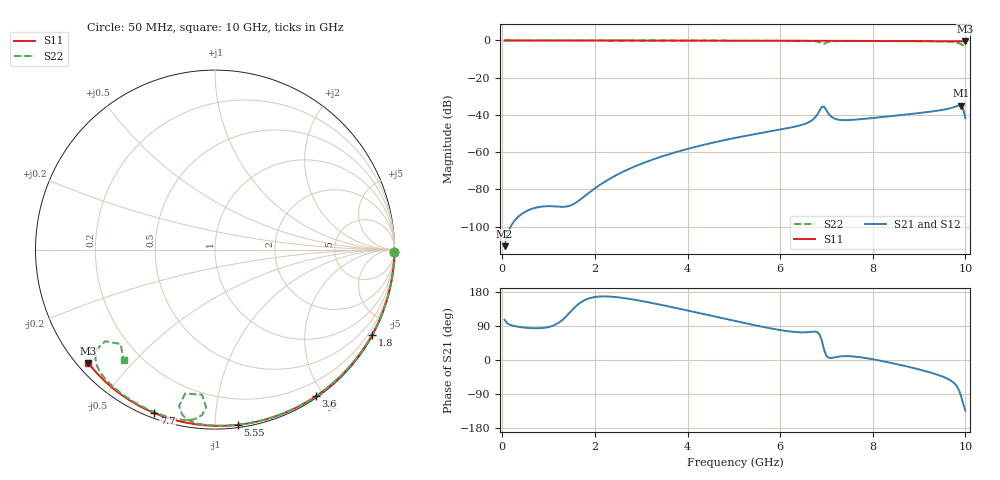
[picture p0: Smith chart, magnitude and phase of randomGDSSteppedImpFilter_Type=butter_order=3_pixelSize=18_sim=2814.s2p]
! freq	dB(S11)	phase(S11)	dB(S12)	phase(S12)
!  dB(S21)	phase(S21)	dB(S22)	phase(S22)
!S-par simulation data
#  GHz  S  DB  R 50
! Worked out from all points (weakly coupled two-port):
!   200 points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, 50 MHz to 10 GHz, reference 50 ohm
!   highest |S21| = -34.94 dB at 9.9 GHz (marker M1); lowest = -110.4 dB at 50 MHz (marker M2)
!   lowest |S11| = -0.5 dB at 10 GHz (marker M3), VSWR 37.31, Z = 1.54 - j19.1 ohm
!   |S11| at or under -10 dB: nowhere
!   |S22| runs from -2.6 to 0.0 dB; largest |S21 - S12| = 0
!   S11 on the Smith chart (normalised r, x): 50 MHz: open; 1.8 GHz: 0.03, -3.96; 3.6 GHz: 0.02, -1.90; 5.55 GHz: 0.02, -1.14; 7.7 GHz: 0.02, -0.70; 10 GHz: 0.03, -0.38
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0.05  -0.00 -0.8  -110.45 106.2  -110.45 106.2  -0.00 -0.8
1.75  -0.04 -27.6  -84.13 156.2  -84.13 156.2  -0.03 -26.7
1.8  -0.04 -28.4  -83.15 159.2  -83.15 159.2  -0.03 -27.5
1.95  -0.04 -30.7  -80.29 165.1  -80.29 165.1  -0.04 -29.7
2.65  -0.05 -41.3  -69.98 163.0  -69.98 163.0  -0.05 -40.1
3.4  -0.07 -52.5  -62.65 146.3  -62.65 146.3  -0.07 -50.9
3.6  -0.07 -55.4  -61.07 141.2  -61.07 141.2  -0.07 -53.8
5.05  -0.12 -75.9  -52.21 102.2  -52.21 102.2  -0.11 -73.9
5.55  -0.14 -82.6  -49.85 89.3  -49.85 89.3  -0.13 -80.7
6.4  -0.17 -93.8  -45.79 73.2  -45.79 73.2  -0.19 -92.6
6.7  -0.19 -97.7  -42.61 74.8  -42.61 74.8  -0.31 -98.2
6.85  -0.20 -99.6  -37.72 67.7  -37.72 67.7  -0.96 -102.9
6.95  -0.20 -100.9  -35.58 26.4  -35.58 26.4  -1.82 -95.1
7.1  -0.21 -102.8  -40.82 5.3  -40.82 5.3  -0.51 -95.9
7.2  -0.22 -104.1  -42.19 7.6  -42.19 7.6  -0.36 -98.3
7.7  -0.25 -110.3  -42.35 7.8  -42.35 7.8  -0.28 -106.2
8.35  -0.30 -118.3  -40.73 -6.5  -40.73 -6.5  -0.32 -114.8
9.5  -0.41 -132.3  -37.28 -43.3  -37.28 -43.3  -0.51 -131.0
9.8  -0.45 -135.9  -35.40 -66.5  -35.40 -66.5  -0.98 -138.3
9.9  -0.46 -137.0  -34.94 -92.4  -34.94 -92.4  -1.98 -140.1
9.95  -0.47 -137.6  -36.55 -115.1  -36.55 -115.1  -2.57 -135.0
10  -0.47 -138.2  -41.67 -133.5  -41.67 -133.5  -1.95 -129.6
